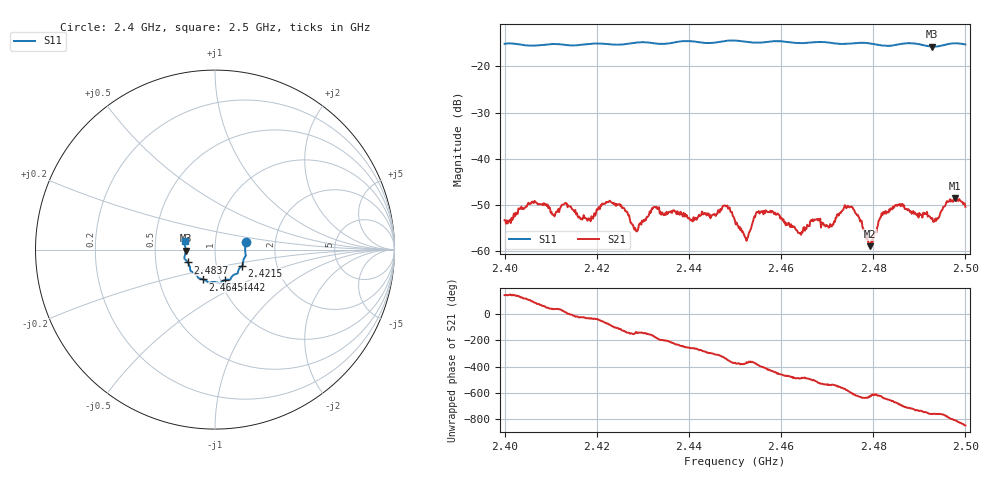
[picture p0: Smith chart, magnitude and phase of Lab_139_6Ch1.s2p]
# Hz S RI R 50
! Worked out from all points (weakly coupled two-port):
!   601 points, 2.4 GHz to 2.5 GHz, reference 50 ohm
!   highest |S21| = -48.53 dB at 2.4977 GHz (marker M1); lowest = -58.9 dB at 2.4793 GHz (marker M2)
!   lowest |S11| = -15.7 dB at 2.4928 GHz (marker M3), VSWR 1.39, Z = 35.9 - j0.389 ohm
!   |S11| at or under -10 dB: start of sweep to end of sweep
!   S12 and S22 are empty: the file has one direction only
!   S11 on the Smith chart (normalised r, x): 2.4 GHz: 1.41, +0.12; 2.4215 GHz: 1.33, -0.25; 2.4442 GHz: 1.05, -0.37; 2.4645 GHz: 0.83, -0.29; 2.4837 GHz: 0.73, -0.11; 2.5 GHz: 0.71, +0.07
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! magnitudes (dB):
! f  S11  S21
! 2.4 GHz  -15.1  -53.3
! 2.4063 GHz  -15.5  -49.6
! 2.4167 GHz  -15.3  -53.0
! 2.4215 GHz  -15.1  -49.8
! 2.4253 GHz  -15.3  -50.1
! 2.4285 GHz  -14.9  -55.6
! 2.4333 GHz  -15.1  -50.9
! 2.4442 GHz  -15.0  -51.8
! 2.4478 GHz  -14.5  -50.1
! 2.45 GHz  -14.4  -53.5
! 2.4523 GHz  -14.7  -57.2
! 2.4552 GHz  -14.9  -51.3
! 2.4645 GHz  -15.0  -55.8
! 2.4667 GHz  -14.8  -53.5
! 2.4708 GHz  -14.9  -54.7
! 2.475 GHz  -15.1  -50.4
! 2.4793 GHz  -15.0  -58.9
! 2.4833 GHz  -15.6  -51.6
! 2.4837 GHz  -15.5  -51.2
! 2.4928 GHz  -15.7  -52.9
! 2.4977 GHz  -15.0  -48.5
! 2.5 GHz  -15.2  -50.4
